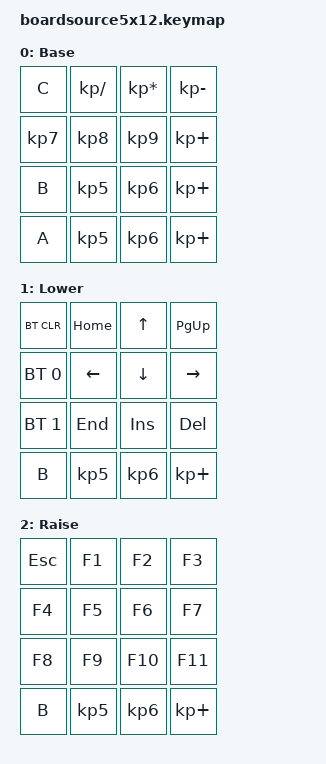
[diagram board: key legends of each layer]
/*
 * Copyright (c) 2020 The ZMK Contributors
 *
 * SPDX-License-Identifier: MIT
 */

#include <behaviors.dtsi>
#include <dt-bindings/zmk/bt.h>
#include <dt-bindings/zmk/keys.h>

/ {
    keymap {
        compatible = "zmk,keymap";

        /* ------- Base: 4x5 numpad -------
                 *  |  Tab |   /   |   *   |   -   |
                 *  |   7  |   8   |   9   |   +   |
                 *  |   4  |   5   |   6   |   +   |
                 *  |   1  |   2   |   3   | Enter |
                 *  |   0  |   0   |   .   | Enter |
                 */

        default_layer {
            display-name = "Base";
            bindings = <
&kp C     &kp KP_DIVIDE  &kp KP_MULTIPLY  &kp KP_MINUS
&kp KP_7  &kp KP_8       &kp KP_9         &kp KP_PLUS
&kp B     &kp KP_5       &kp KP_6         &kp KP_PLUS
&kp A     &kp KP_5       &kp KP_6         &kp KP_PLUS
            >;
        };

        /* ------- Lower: navigation / Bluetooth / editing -------
                 *  | BTCLR| Home |  Up  | PgUp |
                 *  | BT1  | Left | Down | Rght |
                 *  | BT2  |  End | Ins  | Del  |
                 *  | BT3  |      |      |      |
                 *  | LWR  |      |      |      |
                 */

        lower_layer {
            display-name = "Lower";
            bindings = <
&bt BT_CLR    &kp HOME  &kp UP    &kp PG_UP
&bt BT_SEL 0  &kp LEFT  &kp DOWN  &kp RIGHT
&bt BT_SEL 1  &kp END   &kp INS   &kp DEL
&kp B     &kp KP_5       &kp KP_6         &kp KP_PLUS
            >;
        };

        /* ------- Raise: symbols / F-keys -------
                 *  |  Esc |  F1  |  F2  |  F3  |
                 *  |  F4  |  F5  |  F6  |  F7  |
                 *  |  F8  |  F9  |  F10 |  F11 |
                 *  |  F12 |  (   |  )   |  =   |
                 *  |  RSE |  -   |  _   |  `   |
                 */

        raise_layer {
            display-name = "Raise";
            bindings = <
&kp ESC  &kp F1  &kp F2   &kp F3
&kp F4   &kp F5  &kp F6   &kp F7
&kp F8   &kp F9  &kp F10  &kp F11
&kp B     &kp KP_5       &kp KP_6         &kp KP_PLUS
            >;
        };

        /* keep these reserved if your shield expects them */

        extra_1 { status = "reserved"; };

        extra_2 { status = "reserved"; };
    };
};
